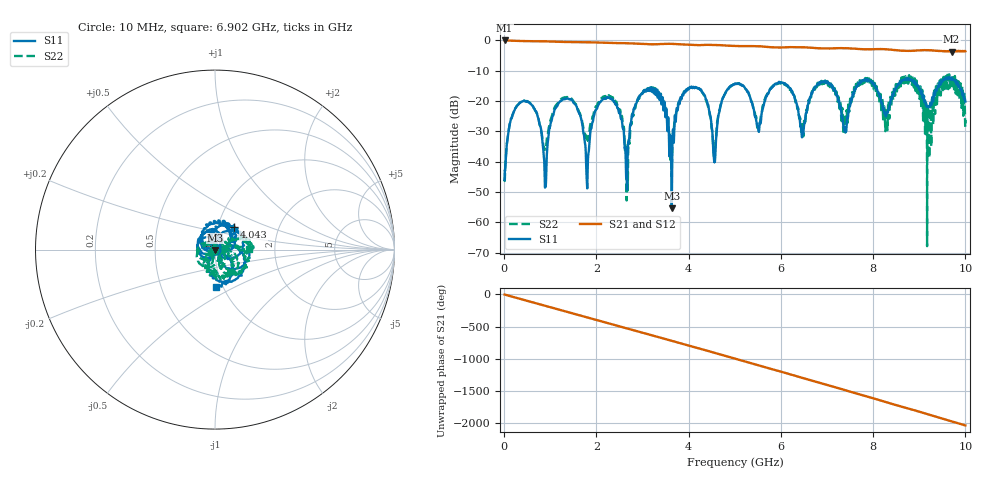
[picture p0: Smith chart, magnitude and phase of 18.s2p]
!Keysight Technologies,E5080B,MY59205177,A.15.75.32
!Date: Friday, February 23, 2024 03:27:03
!Correction: S11(Cdelta 2-Port  )
!S21(Cdelta 2-Port  )
!S12(Cdelta 2-Port  )
!S22(Cdelta 2-Port  )
!S2P File: Measurements: S11, S21, S12, S22:
# Hz S  dB  R 50
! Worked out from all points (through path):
!   10001 points, 10 MHz to 10 GHz, reference 50 ohm
!   highest |S21| = -0.02 dB at 10 MHz (marker M1); lowest = -3.7 dB at 9.701 GHz (marker M2)
!   group delay of S21, straight-line fit = 565 ps
!   lowest |S11| = -55.3 dB at 3.633 GHz (marker M3), VSWR 1.00, Z = 50 - j0.17 ohm
!   |S11| at or under -10 dB: start of sweep to end of sweep
!   |S22| runs from -67.8 to -11.2 dB; largest |S21 - S12| = 0.0015
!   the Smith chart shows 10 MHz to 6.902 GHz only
!   S11 on the Smith chart (normalised r, x): 10 MHz: 1.01, -0.00; 4.043 GHz: 1.20, +0.31; 6.902 GHz: 0.92, -0.41
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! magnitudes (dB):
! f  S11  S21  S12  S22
! 10 MHz  -46.0  0.0  0.0  -46.2
! 374.6 MHz  -20.2  -0.2  -0.2  -20.1
! 889.1 MHz  -48.0  -0.3  -0.3  -35.7
! 1.211 GHz  -20.1  -0.5  -0.5  -19.6
! 1.675 GHz  -26.1  -0.5  -0.6  -25.5
! 1.804 GHz  -47.5  -0.6  -0.6  -32.4
! 2.35 GHz  -19.3  -0.9  -0.9  -18.8
! 2.664 GHz  -49.0  -0.9  -0.9  -42.1
! 2.891 GHz  -19.4  -1.1  -1.1  -20.2
! 3.341 GHz  -17.5  -1.2  -1.2  -17.8
! 3.633 GHz  -55.3  -1.1  -1.1  -43.8
! 4.043 GHz  -15.6  -1.5  -1.5  -15.6
! 4.56 GHz  -40.1  -1.5  -1.5  -39.3
! 5.005 GHz  -14.2  -1.8  -1.8  -14.5
! 5.516 GHz  -29.8  -1.9  -1.9  -28.8
! 6.67 GHz  -17.3  -2.4  -2.4  -16.9
! 6.902 GHz  -13.6  -2.6  -2.6  -14.3
! 7.383 GHz  -30.0  -2.6  -2.6  -25.4
! 7.795 GHz  -13.1  -2.9  -2.9  -12.7
! 8.336 GHz  -22.6  -3.0  -3.0  -20.6
! 9.701 GHz  -12.3  -3.7  -3.7  -13.9
! 10 GHz  -20.1  -3.6  -3.6  -26.2
